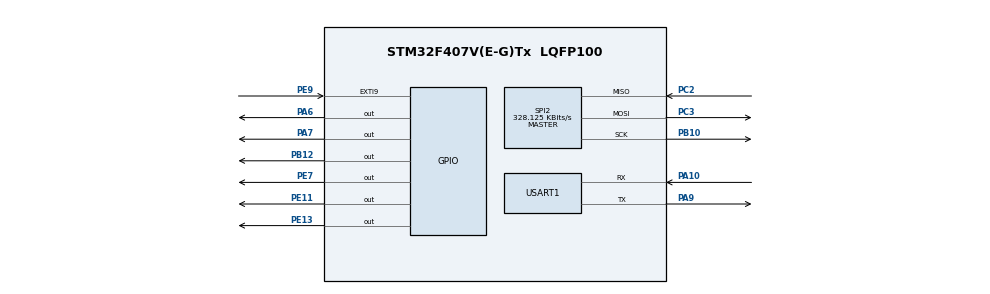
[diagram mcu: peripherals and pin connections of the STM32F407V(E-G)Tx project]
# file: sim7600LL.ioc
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Mcu.Family=STM32F4
PC3.Mode=Full_Duplex_Master
Dma.SPI2_TX.0.MemInc=DMA_MINC_ENABLE
PH0-OSC_IN.Signal=RCC_OSC_IN
RCC.CortexFreq_Value=168000000
SPI2.VirtualType=VM_MASTER
PB10.Mode=Full_Duplex_Master
PE11.PinState=GPIO_PIN_SET
NVIC.DMA1_Stream4_IRQn=true\:15\:0\:true\:false\:true\:true\:false\:true
Dma.SPI2_TX.0.Instance=DMA1_Stream4
RCC.SYSCLKSource=RCC_SYSCLKSOURCE_PLLCLK
ProjectManager.StackSize=0x400
Dma.SPI2_TX.0.MemDataAlignment=DMA_MDATAALIGN_BYTE
TIM1.Prescaler=167
SPI2.CLKPolarity=SPI_POLARITY_HIGH
PA7.PinState=GPIO_PIN_SET
RCC.HCLKFreq_Value=168000000
RCC.APB2TimFreq_Value=168000000
PC3.Signal=SPI2_MOSI
Dma.SPI2_TX.0.Mode=DMA_NORMAL
RCC.AHBFreq_Value=168000000
SPI2.BaudRatePrescaler=SPI_BAUDRATEPRESCALER_128
PH0-OSC_IN.Mode=HSE-External-Oscillator
RCC.HSE_VALUE=8000000
PB3.Mode=Trace_Asynchronous_SW
PE13.PinState=GPIO_PIN_SET
PE13.Signal=GPIO_Output
PE9.Signal=GPXTI9
PA14.Mode=Trace_Asynchronous_SW
TIM3.Prescaler=83
NVIC.TIM2_IRQn=true\:0\:0\:false\:false\:true\:false\:false\:true
SPI2.CalculateBaudRate=328.125 KBits/s
VP_FREERTOS_VS_CMSIS_V1.Mode=CMSIS_V1
VP_TIM1_VS_ClockSourceINT.Mode=Internal
PH1-OSC_OUT.Mode=HSE-External-Oscillator
Mcu.Package=LQFP100
VP_SYS_VS_tim2.Mode=TIM2
PA6.Signal=GPIO_Output
NVIC.TimeBase=TIM2_IRQn
SPI2.Mode=SPI_MODE_MASTER
NVIC.TimeBaseIP=TIM2
PA10.Signal=USART1_RX
SPI2.CLKPhase=SPI_PHASE_2EDGE
Dma.SPI2_TX.0.PeriphInc=DMA_PINC_DISABLE
RCC.APB2CLKDivider=RCC_HCLK_DIV2
RCC.APB1TimFreq_Value=84000000
SPI2.Direction=SPI_DIRECTION_2LINES
TIM1.Period=1500
PE7.Signal=GPIO_Output
Dma.Request0=SPI2_TX
VP_TIM3_VS_ClockSourceINT.Mode=Internal
RCC.PLLSourceVirtual=RCC_PLLSOURCE_HSE
FREERTOS.Tasks01=defaultTask,3,128,StartDefaultTask,Default,NULL,Dynamic,NULL,NULL;blinkTask,2,128,StartTask02,Default,NULL,Dynamic,NULL,NULL
PA10.Mode=Asynchronous
PC2.Signal=SPI2_MISO
PE7.PinState=GPIO_PIN_SET
PC2.Mode=Full_Duplex_Master
PA6.PinState=GPIO_PIN_SET
RCC.APB1CLKDivider=RCC_HCLK_DIV4
PA13.Signal=SYS_JTMS-SWDIO
PA9.Mode=Asynchronous
ProjectManager.TargetToolchain=STM32CubeIDE
PA9.Signal=USART1_TX
PE11.Signal=GPIO_Output
RCC.LSE_VALUE=32768
PB10.Signal=SPI2_SCK
board=custom
RCC.VCOOutputFreq_Value=336000000
RCC.APB2Freq_Value=84000000
Dma.SPI2_TX.0.PeriphDataAlignment=DMA_PDATAALIGN_BYTE
PH1-OSC_OUT.Signal=RCC_OSC_OUT
PA13.Mode=Trace_Asynchronous_SW
Mcu.Name=STM32F407V(E-G)Tx
Dma.SPI2_TX.0.FIFOMode=DMA_FIFOMODE_DISABLE
RCC.48MHZClocksFreq_Value=84000000
PB3.Signal=SYS_JTDO-SWO
Dma.SPI2_TX.0.Priority=DMA_PRIORITY_HIGH
RCC.SYSCLKFreq_VALUE=168000000
USART1.VirtualMode=VM_ASYNC
NVIC.EXTI9_5_IRQn=true\:15\:0\:true\:false\:true\:true\:true\:true
PA14.Signal=SYS_JTCK-SWCLK
ProjectManager.HeapSize=0x200
NVIC.TIM1_UP_TIM10_IRQn=true\:13\:0\:true\:false\:true\:true\:true\:true
RCC.HSI_VALUE=16000000
NVIC.PriorityGroup=NVIC_PRIORITYGROUP_4
RCC.PLLM=4
RCC.PLLN=168
PE9.GPIO_ModeDefaultEXTI=GPIO_MODE_IT_RISING_FALLING
Dma.SPI2_TX.0.Direction=DMA_MEMORY_TO_PERIPH
RCC.APB1Freq_Value=42000000
PB12.Signal=GPIO_Output
PA7.Signal=GPIO_Output
PE9.GPIO_PuPd=GPIO_NOPULL

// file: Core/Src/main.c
/* USER CODE BEGIN Header */
/**
  ******************************************************************************
  * @file           : main.c
  * @brief          : Main program body
  ******************************************************************************
  * @attention
  *
  * <h2><center>&copy; Copyright (c) 2021 STMicroelectronics.
  * All rights reserved.</center></h2>
  *
  * This software component is licensed by ST under BSD 3-Clause license,
  * the "License"; You may not use this file except in compliance with the
  * License. You may obtain a copy of the License at:
  *                        opensource.org/licenses/BSD-3-Clause
  *
  ******************************************************************************
  */
/* USER CODE END Header */
#include "main.h"
#include "cmsis_os.h"

/* USER CODE BEGIN Includes */
#include "sim7600_uart_dma.h"
#include "stdio.h"
#include "vs1003.h"
extern bool sim7600_error;
extern bool sim7600_udp_IsOpen;
/* USER CODE END Includes */

SPI_HandleTypeDef hspi2;
DMA_HandleTypeDef hdma_spi2_tx;

TIM_HandleTypeDef htim1;
TIM_HandleTypeDef htim3;

osThreadId defaultTaskHandle;
osThreadId blinkTaskHandle;
/* USER CODE BEGIN PV */
osThreadId sim7600ErrorHandle;
osThreadId usart_rx_dmaHandle;
osThreadId startPlayMp3Handle;
osMessageQId usart_rx_dma_queue_id;
osMessageQId play_mp3_queue_id;

/* USER CODE END PV */

void SystemClock_Config(void);
static void MX_GPIO_Init(void);
static void MX_DMA_Init(void);
static void MX_USART1_UART_Init(void);
static void MX_SPI2_Init(void);
static void MX_TIM1_Init(void);
static void MX_TIM3_Init(void);
void StartDefaultTask(void const * argument);
void StartTask02(void const * argument);

/* USER CODE BEGIN PFP */
void sim7600ErrorTask(void const * argument);
void usart_rx_dmaTask(void const * argument);
void startPlayMp3Task(void const * argument);
/* USER CODE END PFP */

/* USER CODE BEGIN 0 */
int _write(int32_t file, uint8_t *ptr, int32_t len)
{
	for (int i = 0; i < len; i++)
	{
		ITM_SendChar(*ptr++);
	}
	return len;
}
enum {ON, OFF} eStatusPlayMp3;
/* USER CODE END 0 */

int main(void)
{

  /* MCU Configuration--------------------------------------------------------*/

  /* Reset of all peripherals, Initializes the Flash interface and the Systick. */
  HAL_Init();

  /* USER CODE BEGIN Init */
  eStatusPlayMp3 = ON;
  /* USER CODE END Init */

  /* Configure the system clock */
  SystemClock_Config();

  /* Initialize all configured peripherals */
  MX_GPIO_Init();
  MX_DMA_Init();
  MX_USART1_UART_Init();
  MX_SPI2_Init();
  MX_TIM1_Init();
  MX_TIM3_Init();
  /* USER CODE BEGIN 2 */
  //osMessageGet(queue_id, millisec)
  VS1003_Init();
  VS1003_SoftReset();
  HAL_TIM_Base_Start(&htim3);
  //HAL_TIM_Base_Start_IT(&htim1);
//  HAL_TIM_Base_Start(&htim1);
//  uint32_t t1, t2, t3, t4;
//  t1 = TIM1->CNT;
//  //HAL_Delay(10);
//  t2 = TIM5->CNT;
//  //HAL_TIM_Base_Stop(&htim5);
//  TIM1->CNT = 0;
//  //HAL_TIM_Base_Start(&htim5);
//  t3 = TIM1->CNT;
//  //HAL_Delay(20);
//  t4 = TIM1->CNT;
//  HAL_Delay(1000);
  //VS1003_PlayBeep_DMA();
  /* USER CODE END 2 */

  /* Create the thread(s) */
  /* definition and creation of defaultTask */
  osThreadDef(defaultTask, StartDefaultTask, osPriorityRealtime, 0, 128);
  defaultTaskHandle = osThreadCreate(osThread(defaultTask), NULL);

  /* definition and creation of blinkTask */
  osThreadDef(blinkTask, StartTask02, osPriorityHigh, 0, 128);
  blinkTaskHandle = osThreadCreate(osThread(blinkTask), NULL);

  /* USER CODE BEGIN RTOS_THREADS */
  /* add threads, ... */
  osThreadDef(sim7600Error, sim7600ErrorTask, osPriorityAboveNormal, 0, 128);
  sim7600ErrorHandle = osThreadCreate(osThread(sim7600Error), NULL);

  osMessageQDef(rxUASRTQueue, 20, uint8_t);
  usart_rx_dma_queue_id = osMessageCreate(osMessageQ(rxUASRTQueue), NULL);

  osThreadDef(usart_rx_dma, usart_rx_dmaTask, osPriorityRealtime, 0, 128);
  usart_rx_dmaHandle = osThreadCreate(osThread(usart_rx_dma), NULL);
  //osThreadSuspend(usart_rx_dmaHandle);

  osThreadDef(startPlayMp3, startPlayMp3Task, osPriorityRealtime, 0, 128);
  startPlayMp3Handle = osThreadCreate(osThread(startPlayMp3), NULL);

  osMessageQDef(playMp3Queue, 2, uint32_t);
  play_mp3_queue_id = osMessageCreate(osMessageQ(playMp3Queue), NULL);

  //osThreadSuspend(defaultTaskHandle);
  osThreadSuspend(blinkTaskHandle);
  osThreadSuspend(sim7600ErrorHandle);
  osThreadSuspend(usart_rx_dmaHandle);
  osThreadSuspend(startPlayMp3Handle);

  /* USER CODE END RTOS_THREADS */

  /* Start scheduler */
  osKernelStart();

  /* We should never get here as control is now taken by the scheduler */
  /* Infinite loop */
  /* USER CODE BEGIN WHILE */
  while (1)
  {
	 //HAL_Delay(500);
	 // VS1003_PlayBeep();
	  /*if(TIM5->CNT >= 1000000) {
		  TIM5->CNT = 0;
		  HAL_GPIO_TogglePin(GPIOA, GPIO_PIN_6);
	  }*/
    /* USER CODE END WHILE */

  }
}

void SystemClock_Config(void)
{
  LL_FLASH_SetLatency(LL_FLASH_LATENCY_5);
  while(LL_FLASH_GetLatency()!= LL_FLASH_LATENCY_5)
  {
  }
  LL_PWR_SetRegulVoltageScaling(LL_PWR_REGU_VOLTAGE_SCALE1);
  LL_RCC_HSE_Enable();

   /* Wait till HSE is ready */
  while(LL_RCC_HSE_IsReady() != 1)
  {

  }
  LL_RCC_PLL_ConfigDomain_SYS(LL_RCC_PLLSOURCE_HSE, LL_RCC_PLLM_DIV_4, 168, LL_RCC_PLLP_DIV_2);
  LL_RCC_PLL_Enable();

   /* Wait till PLL is ready */
  while(LL_RCC_PLL_IsReady() != 1)
  {

  }
  LL_RCC_SetAHBPrescaler(LL_RCC_SYSCLK_DIV_1);
  LL_RCC_SetAPB1Prescaler(LL_RCC_APB1_DIV_4);
  LL_RCC_SetAPB2Prescaler(LL_RCC_APB2_DIV_2);
  LL_RCC_SetSysClkSource(LL_RCC_SYS_CLKSOURCE_PLL);

   /* Wait till System clock is ready */
  while(LL_RCC_GetSysClkSource() != LL_RCC_SYS_CLKSOURCE_STATUS_PLL)
  {

  }
  LL_SetSystemCoreClock(168000000);

   /* Update the time base */
  if (HAL_InitTick (TICK_INT_PRIORITY) != HAL_OK)
  {
    Error_Handler();
  }
}

static void MX_SPI2_Init(void)
{

  /* SPI2 parameter configuration*/
  hspi2.Instance = SPI2;
  hspi2.Init.Mode = SPI_MODE_MASTER;
  hspi2.Init.Direction = SPI_DIRECTION_2LINES;
  hspi2.Init.DataSize = SPI_DATASIZE_8BIT;
  hspi2.Init.CLKPolarity = SPI_POLARITY_HIGH;
  hspi2.Init.CLKPhase = SPI_PHASE_2EDGE;
  hspi2.Init.NSS = SPI_NSS_SOFT;
  hspi2.Init.BaudRatePrescaler = SPI_BAUDRATEPRESCALER_128;
  hspi2.Init.FirstBit = SPI_FIRSTBIT_MSB;
  hspi2.Init.TIMode = SPI_TIMODE_DISABLE;
  hspi2.Init.CRCCalculation = SPI_CRCCALCULATION_DISABLE;
  hspi2.Init.CRCPolynomial = 10;
  if (HAL_SPI_Init(&hspi2) != HAL_OK)
  {
    Error_Handler();
  }

}

static void MX_TIM1_Init(void)
{

  TIM_ClockConfigTypeDef sClockSourceConfig = {0};
  TIM_MasterConfigTypeDef sMasterConfig = {0};

  htim1.Instance = TIM1;
  htim1.Init.Prescaler = 167;
  htim1.Init.CounterMode = TIM_COUNTERMODE_UP;
  htim1.Init.Period = 1500;
  htim1.Init.ClockDivision = TIM_CLOCKDIVISION_DIV1;
  htim1.Init.RepetitionCounter = 0;
  htim1.Init.AutoReloadPreload = TIM_AUTORELOAD_PRELOAD_DISABLE;
  if (HAL_TIM_Base_Init(&htim1) != HAL_OK)
  {
    Error_Handler();
  }
  sClockSourceConfig.ClockSource = TIM_CLOCKSOURCE_INTERNAL;
  if (HAL_TIM_ConfigClockSource(&htim1, &sClockSourceConfig) != HAL_OK)
  {
    Error_Handler();
  }
  sMasterConfig.MasterOutputTrigger = TIM_TRGO_RESET;
  sMasterConfig.MasterSlaveMode = TIM_MASTERSLAVEMODE_DISABLE;
  if (HAL_TIMEx_MasterConfigSynchronization(&htim1, &sMasterConfig) != HAL_OK)
  {
    Error_Handler();
  }

}

static void MX_TIM3_Init(void)
{

  TIM_ClockConfigTypeDef sClockSourceConfig = {0};
  TIM_MasterConfigTypeDef sMasterConfig = {0};

  htim3.Instance = TIM3;
  htim3.Init.Prescaler = 83;
  htim3.Init.CounterMode = TIM_COUNTERMODE_UP;
  htim3.Init.Period = 65535;
  htim3.Init.ClockDivision = TIM_CLOCKDIVISION_DIV1;
  htim3.Init.AutoReloadPreload = TIM_AUTORELOAD_PRELOAD_DISABLE;
  if (HAL_TIM_Base_Init(&htim3) != HAL_OK)
  {
    Error_Handler();
  }
  sClockSourceConfig.ClockSource = TIM_CLOCKSOURCE_INTERNAL;
  if (HAL_TIM_ConfigClockSource(&htim3, &sClockSourceConfig) != HAL_OK)
  {
    Error_Handler();
  }
  sMasterConfig.MasterOutputTrigger = TIM_TRGO_RESET;
  sMasterConfig.MasterSlaveMode = TIM_MASTERSLAVEMODE_DISABLE;
  if (HAL_TIMEx_MasterConfigSynchronization(&htim3, &sMasterConfig) != HAL_OK)
  {
    Error_Handler();
  }

}

static void MX_USART1_UART_Init(void)
{

  LL_USART_InitTypeDef USART_InitStruct = {0};

  LL_GPIO_InitTypeDef GPIO_InitStruct = {0};

  /* Peripheral clock enable */
  LL_APB2_GRP1_EnableClock(LL_APB2_GRP1_PERIPH_USART1);

  LL_AHB1_GRP1_EnableClock(LL_AHB1_GRP1_PERIPH_GPIOA);
  /**USART1 GPIO Configuration
  PA9   ------> USART1_TX
  PA10   ------> USART1_RX
  */
  GPIO_InitStruct.Pin = LL_GPIO_PIN_9|LL_GPIO_PIN_10;
  GPIO_InitStruct.Mode = LL_GPIO_MODE_ALTERNATE;
  GPIO_InitStruct.Speed = LL_GPIO_SPEED_FREQ_VERY_HIGH;
  GPIO_InitStruct.OutputType = LL_GPIO_OUTPUT_PUSHPULL;
  GPIO_InitStruct.Pull = LL_GPIO_PULL_NO;
  GPIO_InitStruct.Alternate = LL_GPIO_AF_7;
  LL_GPIO_Init(GPIOA, &GPIO_InitStruct);

  USART_InitStruct.BaudRate = 115200;
  USART_InitStruct.DataWidth = LL_USART_DATAWIDTH_8B;
  USART_InitStruct.StopBits = LL_USART_STOPBITS_1;
  USART_InitStruct.Parity = LL_USART_PARITY_NONE;
  USART_InitStruct.TransferDirection = LL_USART_DIRECTION_TX_RX;
  USART_InitStruct.HardwareFlowControl = LL_USART_HWCONTROL_NONE;
  USART_InitStruct.OverSampling = LL_USART_OVERSAMPLING_16;
  LL_USART_Init(USART1, &USART_InitStruct);
  LL_USART_ConfigAsyncMode(USART1);
  LL_USART_Enable(USART1);

}

static void MX_DMA_Init(void)
{

  /* Init with LL driver */
  /* DMA controller clock enable */
  LL_AHB1_GRP1_EnableClock(LL_AHB1_GRP1_PERIPH_DMA1);

  /* DMA interrupt init */
  /* DMA1_Stream4_IRQn interrupt configuration */
  HAL_NVIC_SetPriority(DMA1_Stream4_IRQn, 15, 0);
  HAL_NVIC_EnableIRQ(DMA1_Stream4_IRQn);

}

static void MX_GPIO_Init(void)
{
  LL_EXTI_InitTypeDef EXTI_InitStruct = {0};
  LL_GPIO_InitTypeDef GPIO_InitStruct = {0};

  /* GPIO Ports Clock Enable */
  LL_AHB1_GRP1_EnableClock(LL_AHB1_GRP1_PERIPH_GPIOH);
  LL_AHB1_GRP1_EnableClock(LL_AHB1_GRP1_PERIPH_GPIOC);
  LL_AHB1_GRP1_EnableClock(LL_AHB1_GRP1_PERIPH_GPIOA);
  LL_AHB1_GRP1_EnableClock(LL_AHB1_GRP1_PERIPH_GPIOE);
  LL_AHB1_GRP1_EnableClock(LL_AHB1_GRP1_PERIPH_GPIOB);

  /**/
  LL_GPIO_SetOutputPin(GPIOA, LL_GPIO_PIN_6|LL_GPIO_PIN_7);

  /**/
  LL_GPIO_SetOutputPin(GPIOE, LL_GPIO_PIN_7|LL_GPIO_PIN_11|LL_GPIO_PIN_13);

  /**/
  LL_GPIO_ResetOutputPin(GPIOB, LL_GPIO_PIN_12);

  /**/
  GPIO_InitStruct.Pin = LL_GPIO_PIN_6|LL_GPIO_PIN_7;
  GPIO_InitStruct.Mode = LL_GPIO_MODE_OUTPUT;
  GPIO_InitStruct.Speed = LL_GPIO_SPEED_FREQ_LOW;
  GPIO_InitStruct.OutputType = LL_GPIO_OUTPUT_PUSHPULL;
  GPIO_InitStruct.Pull = LL_GPIO_PULL_NO;
  LL_GPIO_Init(GPIOA, &GPIO_InitStruct);

  /**/
  GPIO_InitStruct.Pin = LL_GPIO_PIN_7|LL_GPIO_PIN_11|LL_GPIO_PIN_13;
  GPIO_InitStruct.Mode = LL_GPIO_MODE_OUTPUT;
  GPIO_InitStruct.Speed = LL_GPIO_SPEED_FREQ_LOW;
  GPIO_InitStruct.OutputType = LL_GPIO_OUTPUT_PUSHPULL;
  GPIO_InitStruct.Pull = LL_GPIO_PULL_NO;
  LL_GPIO_Init(GPIOE, &GPIO_InitStruct);

  /**/
  GPIO_InitStruct.Pin = LL_GPIO_PIN_12;
  GPIO_InitStruct.Mode = LL_GPIO_MODE_OUTPUT;
  GPIO_InitStruct.Speed = LL_GPIO_SPEED_FREQ_LOW;
  GPIO_InitStruct.OutputType = LL_GPIO_OUTPUT_PUSHPULL;
  GPIO_InitStruct.Pull = LL_GPIO_PULL_NO;
  LL_GPIO_Init(GPIOB, &GPIO_InitStruct);

  /**/
  LL_SYSCFG_SetEXTISource(LL_SYSCFG_EXTI_PORTE, LL_SYSCFG_EXTI_LINE9);

  /**/
  EXTI_InitStruct.Line_0_31 = LL_EXTI_LINE_9;
  EXTI_InitStruct.LineCommand = ENABLE;
  EXTI_InitStruct.Mode = LL_EXTI_MODE_IT;
  EXTI_InitStruct.Trigger = LL_EXTI_TRIGGER_RISING_FALLING;
  LL_EXTI_Init(&EXTI_InitStruct);

  /**/
  LL_GPIO_SetPinPull(GPIOE, LL_GPIO_PIN_9, LL_GPIO_PULL_NO);

  /**/
  LL_GPIO_SetPinMode(GPIOE, LL_GPIO_PIN_9, LL_GPIO_MODE_INPUT);

  /* EXTI interrupt init*/
  NVIC_SetPriority(EXTI9_5_IRQn, NVIC_EncodePriority(NVIC_GetPriorityGrouping(),15, 0));
  NVIC_EnableIRQ(EXTI9_5_IRQn);

}

/* USER CODE BEGIN 4 */
//int numOfDMAInterrupt = 0;
//void DMA2_Stream2_IRQHandler(void) {
//    /* Check half-transfer complete interrupt */
//    if (LL_DMA_IsEnabledIT_HT(DMA2, LL_DMA_STREAM_2) && LL_DMA_IsActiveFlag_HT2(DMA2)) {
//        LL_DMA_ClearFlag_HT2(DMA2);             /* Clear half-transfer complete flag */
//        sim7600_pause_rx_uart_dma(1);
//        osMessagePut(usart_rx_dma_queue_id, 1, 0);
//    }
//
//    /* Check transfer-complete interrupt */
//    if (LL_DMA_IsEnabledIT_TC(DMA2, LL_DMA_STREAM_2) && LL_DMA_IsActiveFlag_TC2(DMA2)) {
//        LL_DMA_ClearFlag_TC2(DMA2);             /* Clear transfer complete flag */
//        sim7600_pause_rx_uart_dma(1);
//        osMessagePut(usart_rx_dma_queue_id, 1, 0);
//    }
//    numOfDMAInterrupt++;
//    /* Implement other events when needed */
//}

void HAL_SPI_TxCpltCallback(SPI_HandleTypeDef *hspi)
{
  if (hspi == &hspi2)
  {
    //VS1003_PlayBeep_DMA();
    osMessagePut(play_mp3_queue_id, 0, osWaitForever); //play immidiate
  }
}

void USART1_IRQHandler(void)
{
	sim7600_usart_IRQHandler();
}

void sim7600ErrorTask(void const * argument)
{
  for(;;)
  {
    //printf("%c", 'e');
    osDelay(1000);
    sim7600_handle_error();
    //VS1003_PlayBeep();
    LL_GPIO_TogglePin(GPIOA, LL_GPIO_PIN_7);
  }
}

void usart_rx_dmaTask(void const * argument)
{
  for(;;)
  {
    // if(sim7600_udp_IsOpen)
    // {
    //   //osMessageGet(usart_rx_dma_queue_id, 100);
    // 	osDelay(50);
    // }
    // else
    // {
    //   //osMessageGet(usart_rx_dma_queue_id, 1000);
    // 	osDelay(50);
    // }
    //osDelay(100);
    osMessageGet(usart_rx_dma_queue_id, osWaitForever);
    sim7600_usart_rx_check();
  }
}

osEvent playMp3QueueEvent;
void startPlayMp3Task(void const * argument)
{
  for(;;)
  {
    playMp3QueueEvent = osMessageGet(play_mp3_queue_id, osWaitForever);
    playMp3DMA(playMp3QueueEvent.value.v);
  }
}

int timerUART_DMA_expired = 0;
/* USER CODE END 4 */

void StartDefaultTask(void const * argument)
{
  /* USER CODE BEGIN 5 */
  /* Infinite loop */
  //osThreadSuspend(sim7600ErrorHandle); // suspend all other thread
  //Init_LL_GetTick();
  sim7600_init();
  osThreadResume(blinkTaskHandle);
  osThreadResume(sim7600ErrorHandle);
  osThreadResume(usart_rx_dmaHandle);
  osThreadResume(startPlayMp3Handle);
  if(!sim7600_config()) sim7600_error = true;
  //osDelay(UINT32_MAX);
  //osDelay(5000);
  //osThreadResumeAll();
  //osThreadResume(blinkTaskHandle);
  //osThreadResume(sim7600ErrorHandle);
  //osThreadResume(usart_rx_dmaHandle);

  osThreadTerminate(NULL);

  //osThreadTerminate(defaultTaskHandle);
  /* USER CODE END 5 */
}

void StartTask02(void const * argument)
{
  /* USER CODE BEGIN StartTask02 */
  /* Infinite loop */
  static int StartTask02_num = 0;
  for(;;)
  {
	//LL_GPIO_TogglePin(GPIOA, LL_GPIO_PIN_7);
    osDelay(1000);

    if(sim7600_udp_IsOpen)
    {
    	StartTask02_num++;
    	//if(StartTask02_num % 5 == 0 || StartTask02_num < 30) sim7600_keepAlive_udp();
    	if((StartTask02_num % 5 == 0) || (StartTask02_num < 5)) sim7600_keepAlive_udp();
    }
  }
  /* USER CODE END StartTask02 */
}

 /**
  * @brief  Period elapsed callback in non blocking mode
  * @note   This function is called  when TIM2 interrupt took place, inside
  * HAL_TIM_IRQHandler(). It makes a direct call to HAL_IncTick() to increment
  * a global variable "uwTick" used as application time base.
  * @param  htim : TIM handle
  * @retval None
  */
void HAL_TIM_PeriodElapsedCallback(TIM_HandleTypeDef *htim)
{
  if (htim->Instance == TIM2) {
    HAL_IncTick();
  }
  /* USER CODE BEGIN Callback 1 */
  if(htim->Instance == TIM1)
  {
	  HAL_TIM_Base_Stop_IT(&htim1);
	  sim7600_pause_rx_uart_dma();
	  timerUART_DMA_expired++;
  }
  /* USER CODE END Callback 1 */
}

void Error_Handler(void)
{
  __disable_irq();
  while (1)
  {
  }
}

/************************ (C) COPYRIGHT STMicroelectronics *****END OF FILE****/
